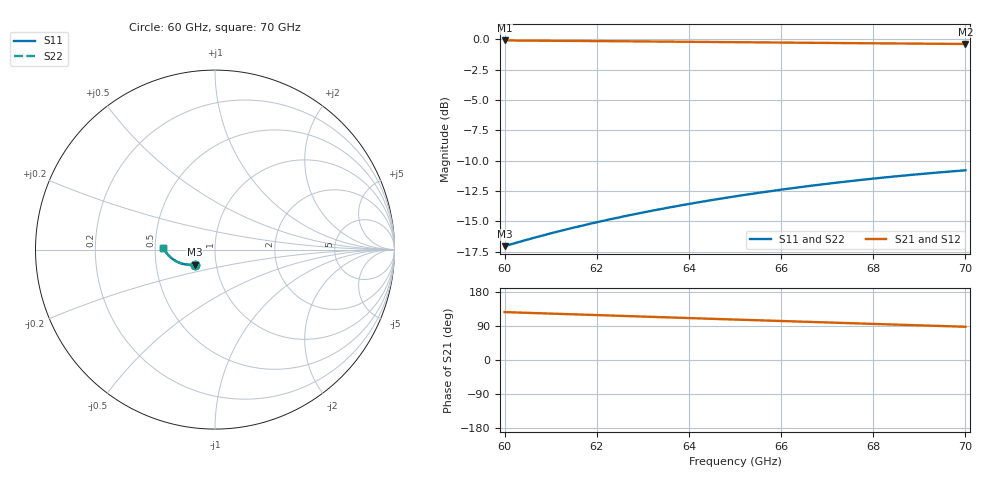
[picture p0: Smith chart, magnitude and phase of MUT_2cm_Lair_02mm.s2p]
! TOUCHSTONE file generated by CST MICROWAVE STUDIO
! Date and time: Sun Mar  3 12:09:17 2024
! Project name: material_angular.cst
! Parameters = {d=8.8; Yi=5; iiii=5; exis2=5; exis=5; X=5; Z=5; Y=2}
! Header version: 2018
! Port assignment regex: !\s*Touchstone port\s*([0-9]+)\s*=\s*(CST MWS port|CST DS port)\s*([0-9]+|Zmin|Zmax)\s*\(\"(.*)\"\)(\s*mode\s*([0-9]+))?.*
! Touchstone port assignment:
! Touchstone port 1 = CST MWS port 1 ("")
! Touchstone port 2 = CST MWS port 2 ("")
# GHz S MA R 376.7
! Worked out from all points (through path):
!   1001 points, 60 GHz to 70 GHz, reference 376.7 ohm
!   highest |S21| = -0.09 dB at 60 GHz (marker M1); lowest = -0.4 dB at 70 GHz (marker M2)
!   group delay of S21, straight-line fit = 10.8 ps
!   lowest |S11| = -17.0 dB at 60 GHz (marker M3), VSWR 1.33, Z = 296 - j50.4 ohm
!   |S11| at or under -10 dB: start of sweep to end of sweep
!   |S22| runs from -17.0 to -10.8 dB; largest |S21 - S12| = 0.00047
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60  0.1406 -143.6  0.99 126.4  0.9898 126.4  0.1407 -143.5
60.05  0.1416 -143.8  0.9899 126.2  0.9897 126.2  0.1416 -143.7
60.46  0.149 -145.5  0.9888 124.6  0.9886 124.6  0.1491 -145.4
60.88  0.1566 -147.1  0.9877 122.9  0.9875 122.9  0.1566 -147.0
61.27  0.1636 -148.7  0.9865 121.4  0.9864 121.4  0.1636 -148.6
61.67  0.1707 -150.3  0.9853 119.8  0.9852 119.8  0.1707 -150.1
62.07  0.1777 -151.9  0.9841 118.2  0.9841 118.2  0.1777 -151.7
62.48  0.1847 -153.5  0.9828 116.6  0.9828 116.6  0.1847 -153.3
62.91  0.192 -155.2  0.9814 114.9  0.9815 114.9  0.192 -155.0
63.34  0.1992 -156.9  0.9799 113.2  0.9801 113.2  0.1992 -156.7
63.75  0.2059 -158.5  0.9785 111.6  0.9788 111.6  0.2059 -158.3
64.17  0.2127 -160.1  0.9771 110.0  0.9774 110.0  0.2127 -160.0
64.59  0.2193 -161.7  0.9756 108.3  0.9759 108.3  0.2193 -161.6
65  0.2256 -163.3  0.9741 106.7  0.9745 106.8  0.2256 -163.2
65.41  0.2317 -164.9  0.9727 105.2  0.973 105.2  0.2318 -164.8
65.83  0.2379 -166.5  0.9712 103.5  0.9715 103.6  0.2379 -166.4
66.67  0.2497 -169.7  0.9682 100.3  0.9684 100.3  0.2498 -169.6
67.5  0.2607 -172.9  0.9653 97.1  0.9654 97.2  0.2608 -172.8
68.34  0.271 -176.1  0.9625 94.0  0.9625 94.0  0.2711 -176.0
69.15  0.2802 -179.1  0.96 90.9  0.9598 90.9  0.2802 -179.0
69.95  0.2883 177.9  0.9576 87.9  0.9573 87.9  0.2883 178.0
70  0.2888 177.7  0.9575 87.7  0.9572 87.7  0.2888 177.8
